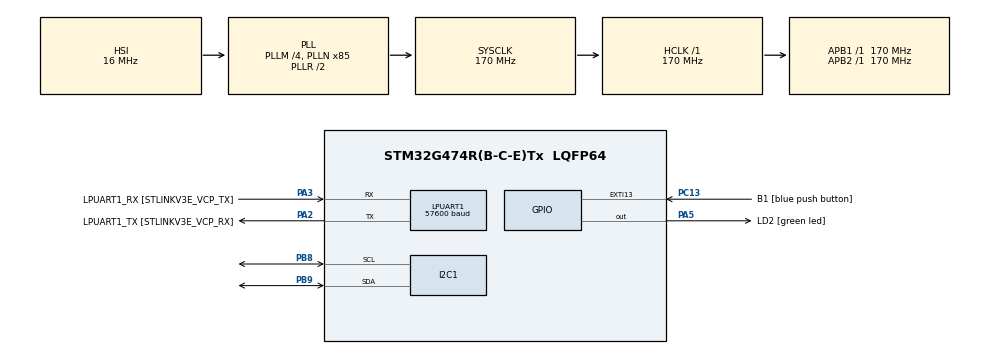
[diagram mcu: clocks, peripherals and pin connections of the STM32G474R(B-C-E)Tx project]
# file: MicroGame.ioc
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Dma.I2C1_RX.0.Direction=DMA_PERIPH_TO_MEMORY
Dma.I2C1_RX.0.EventEnable=DISABLE
Dma.I2C1_RX.0.Instance=DMA1_Channel1
Dma.I2C1_RX.0.MemDataAlignment=DMA_MDATAALIGN_BYTE
Dma.I2C1_RX.0.MemInc=DMA_MINC_ENABLE
Dma.I2C1_RX.0.Mode=DMA_NORMAL
Dma.I2C1_RX.0.PeriphDataAlignment=DMA_PDATAALIGN_BYTE
Dma.I2C1_RX.0.PeriphInc=DMA_PINC_DISABLE
Dma.I2C1_RX.0.Polarity=HAL_DMAMUX_REQ_GEN_RISING
Dma.I2C1_RX.0.Priority=DMA_PRIORITY_LOW
Dma.I2C1_RX.0.RequestNumber=1
Dma.I2C1_RX.0.SignalID=NONE
Dma.I2C1_RX.0.SyncEnable=DISABLE
Dma.I2C1_RX.0.SyncPolarity=HAL_DMAMUX_SYNC_NO_EVENT
Dma.I2C1_RX.0.SyncRequestNumber=1
Dma.I2C1_RX.0.SyncSignalID=NONE
Dma.I2C1_TX.1.Direction=DMA_MEMORY_TO_PERIPH
Dma.I2C1_TX.1.EventEnable=DISABLE
Dma.I2C1_TX.1.Instance=DMA1_Channel2
Dma.I2C1_TX.1.MemDataAlignment=DMA_MDATAALIGN_BYTE
Dma.I2C1_TX.1.MemInc=DMA_MINC_ENABLE
Dma.I2C1_TX.1.Mode=DMA_NORMAL
Dma.I2C1_TX.1.PeriphDataAlignment=DMA_PDATAALIGN_BYTE
Dma.I2C1_TX.1.PeriphInc=DMA_PINC_DISABLE
Dma.I2C1_TX.1.Polarity=HAL_DMAMUX_REQ_GEN_RISING
Dma.I2C1_TX.1.Priority=DMA_PRIORITY_LOW
Dma.I2C1_TX.1.RequestNumber=1
Dma.I2C1_TX.1.SignalID=NONE
Dma.I2C1_TX.1.SyncEnable=DISABLE
Dma.I2C1_TX.1.SyncPolarity=HAL_DMAMUX_SYNC_NO_EVENT
Dma.I2C1_TX.1.SyncRequestNumber=1
Dma.I2C1_TX.1.SyncSignalID=NONE
Dma.LPUART1_RX.2.Direction=DMA_PERIPH_TO_MEMORY
Dma.LPUART1_RX.2.EventEnable=DISABLE
Dma.LPUART1_RX.2.Instance=DMA1_Channel3
Dma.LPUART1_RX.2.MemDataAlignment=DMA_MDATAALIGN_BYTE
Dma.LPUART1_RX.2.MemInc=DMA_MINC_ENABLE
Dma.LPUART1_RX.2.Mode=DMA_CIRCULAR
Dma.LPUART1_RX.2.PeriphDataAlignment=DMA_PDATAALIGN_BYTE
Dma.LPUART1_RX.2.PeriphInc=DMA_PINC_DISABLE
Dma.LPUART1_RX.2.Polarity=HAL_DMAMUX_REQ_GEN_RISING
Dma.LPUART1_RX.2.Priority=DMA_PRIORITY_LOW
Dma.LPUART1_RX.2.RequestNumber=1
Dma.LPUART1_RX.2.SignalID=NONE
Dma.LPUART1_RX.2.SyncEnable=DISABLE
Dma.LPUART1_RX.2.SyncPolarity=HAL_DMAMUX_SYNC_NO_EVENT
Dma.LPUART1_RX.2.SyncRequestNumber=1
Dma.LPUART1_RX.2.SyncSignalID=NONE
Dma.LPUART1_TX.3.Direction=DMA_MEMORY_TO_PERIPH
Dma.LPUART1_TX.3.EventEnable=DISABLE
Dma.LPUART1_TX.3.Instance=DMA1_Channel4
Dma.LPUART1_TX.3.MemDataAlignment=DMA_MDATAALIGN_BYTE
Dma.LPUART1_TX.3.MemInc=DMA_MINC_ENABLE
Dma.LPUART1_TX.3.Mode=DMA_NORMAL
Dma.LPUART1_TX.3.PeriphDataAlignment=DMA_PDATAALIGN_BYTE
Dma.LPUART1_TX.3.PeriphInc=DMA_PINC_DISABLE
Dma.LPUART1_TX.3.Polarity=HAL_DMAMUX_REQ_GEN_RISING
Dma.LPUART1_TX.3.Priority=DMA_PRIORITY_LOW
Dma.LPUART1_TX.3.RequestNumber=1
Dma.LPUART1_TX.3.SignalID=NONE
Dma.LPUART1_TX.3.SyncEnable=DISABLE
Dma.LPUART1_TX.3.SyncPolarity=HAL_DMAMUX_SYNC_NO_EVENT
Dma.LPUART1_TX.3.SyncRequestNumber=1
Dma.LPUART1_TX.3.SyncSignalID=NONE
Dma.Request0=I2C1_RX
Dma.Request1=I2C1_TX
Dma.Request2=LPUART1_RX
Dma.Request3=LPUART1_TX
I2C1.Timing=0x30A0A7FB
LPUART1.BaudRate=57600
LPUART1.WordLength=UART_WORDLENGTH_8B
Mcu.Family=STM32G4
Mcu.Name=STM32G474R(B-C-E)Tx
Mcu.Package=LQFP64
NVIC.DMA1_Channel1_IRQn=true\:0\:0\:false\:false\:true\:false\:true\:true
NVIC.DMA1_Channel2_IRQn=true\:0\:0\:false\:false\:true\:false\:true\:true
NVIC.DMA1_Channel3_IRQn=true\:0\:0\:false\:false\:true\:false\:true\:true
NVIC.DMA1_Channel4_IRQn=true\:0\:0\:false\:false\:true\:false\:true\:true
NVIC.EXTI15_10_IRQn=true\:0\:0\:false\:false\:true\:true\:true\:true
NVIC.I2C1_ER_IRQn=true\:0\:0\:false\:false\:true\:true\:true\:true
NVIC.I2C1_EV_IRQn=true\:0\:0\:false\:false\:true\:true\:true\:true
NVIC.LPUART1_IRQn=true\:0\:0\:false\:false\:true\:true\:true\:true
NVIC.PriorityGroup=NVIC_PRIORITYGROUP_4
PA13.GPIO_Label=T_SWDIO
PA13.Mode=Serial_Wire
PA13.Signal=SYS_JTMS-SWDIO
PA14.GPIO_Label=T_SWCLK
PA14.Mode=Serial_Wire
PA14.Signal=SYS_JTCK-SWCLK
PA2.GPIO_Label=LPUART1_TX [STLINKV3E_VCP_RX]
PA2.Mode=Asynchronous
PA2.Signal=LPUART1_TX
PA3.GPIO_Label=LPUART1_RX [STLINKV3E_VCP_TX]
PA3.Mode=Asynchronous
PA3.Signal=LPUART1_RX
PA5.GPIO_Label=LD2 [green led]
PA5.Signal=GPIO_Output
PB3.GPIO_Label=T_SWO
PB3.Signal=SYS_JTDO-SWO
PB8-BOOT0.Mode=I2C
PB8-BOOT0.Signal=I2C1_SCL
PB9.Mode=I2C
PB9.Signal=I2C1_SDA
PC13.GPIO_Label=B1 [blue push button]
PC13.Signal=GPXTI13
PC14-OSC32_IN.Mode=LSE-External-Oscillator
PC14-OSC32_IN.Signal=RCC_OSC32_IN
PC15-OSC32_OUT.Mode=LSE-External-Oscillator
PC15-OSC32_OUT.Signal=RCC_OSC32_OUT
PF0-OSC_IN.Mode=HSE-External-Oscillator
PF0-OSC_IN.Signal=RCC_OSC_IN
PF1-OSC_OUT.Mode=HSE-External-Oscillator
PF1-OSC_OUT.Signal=RCC_OSC_OUT
ProjectManager.HeapSize=0x200
ProjectManager.StackSize=0x400
ProjectManager.TargetToolchain=STM32CubeIDE
RCC.ADC12Freq_Value=170000000
RCC.ADC345Freq_Value=170000000
RCC.AHBFreq_Value=170000000
RCC.APB1Freq_Value=170000000
RCC.APB1TimFreq_Value=170000000
RCC.APB2Freq_Value=170000000
RCC.APB2TimFreq_Value=170000000
RCC.CortexFreq_Value=170000000
RCC.EXTERNAL_CLOCK_VALUE=12288000
RCC.HCLKFreq_Value=170000000
RCC.HSE_VALUE=24000000
RCC.HSI48_VALUE=48000000
RCC.HSI_VALUE=16000000
RCC.PLLM=RCC_PLLM_DIV4
RCC.PLLN=85
RCC.RTCClockSelection=RCC_RTCCLKSOURCE_LSE
RCC.SYSCLKFreq_VALUE=170000000
RCC.SYSCLKSource=RCC_SYSCLKSOURCE_PLLCLK
RCC.USBFreq_Value=170000000
RCC.VCOOutputFreq_Value=340000000
VP_SYS_VS_DBSignals.Mode=DisableDeadBatterySignals
board=NUCLEO-G474RE

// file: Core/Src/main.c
/* USER CODE BEGIN Header */
/**
  ******************************************************************************
  * @file           : main.c
  * @brief          : Main program body
  ******************************************************************************
  * @attention
  *
  * Copyright (c) 2024 STMicroelectronics.
  * All rights reserved.
  *
  * This software is licensed under terms that can be found in the LICENSE file
  * in the root directory of this software component.
  * If no LICENSE file comes with this software, it is provided AS-IS.
  *
  ******************************************************************************
  */
/* USER CODE END Header */
#include "main.h"

/* USER CODE BEGIN Includes */
#include "string.h"

/* USER CODE END Includes */

/* USER CODE BEGIN PD */
#define EEPROM_ADDR 0b10100000
/* USER CODE END PD */

I2C_HandleTypeDef hi2c1;
DMA_HandleTypeDef hdma_i2c1_rx;
DMA_HandleTypeDef hdma_i2c1_tx;

UART_HandleTypeDef hlpuart1;
DMA_HandleTypeDef hdma_lpuart1_rx;
DMA_HandleTypeDef hdma_lpuart1_tx;

/* USER CODE BEGIN PV */
uint8_t Read[4];
uint8_t State = 0;
uint8_t Diff = 0;
uint8_t stop;
uint8_t indexx = 0;
uint8_t Check = 0;

uint8_t memRead[3];

uint8_t slot;
uint8_t slot_mem[3];
/* USER CODE END PV */

void SystemClock_Config(void);
static void MX_GPIO_Init(void);
static void MX_DMA_Init(void);
static void MX_LPUART1_UART_Init(void);
static void MX_I2C1_Init(void);

int main(void)
{

  /* MCU Configuration--------------------------------------------------------*/

  /* Reset of all peripherals, Initializes the Flash interface and the Systick. */
  HAL_Init();

  /* Configure the system clock */
  SystemClock_Config();

  /* Initialize all configured peripherals */
  MX_GPIO_Init();
  MX_DMA_Init();
  MX_LPUART1_UART_Init();
  MX_I2C1_Init();
  /* USER CODE BEGIN 2 */
  uint8_t newline[] = "\r\n";
  HAL_UART_Transmit(&hlpuart1, newline, sizeof(newline) - 1, 10);

  uint8_t text[] = "Enter Difficulty from 1 - 3 \r\n";
  HAL_UART_Transmit(&hlpuart1, text, 28, 10);
  /* USER CODE END 2 */

  /* Infinite loop */
  while (1)
  {

    /* USER CODE BEGIN 3 */
	  if (State == 0)
	  {
		  State = 1;
	  }

	  else if (State == 1)
	  {
		  Read[4] = '\0';
		  HAL_UART_Receive(&hlpuart1, Read, 4,10);

		  uint8_t data = Read[0];

		  if (data == 49)
		  {
			  Diff = 100;
			  State = 2;
		  }

		  else if (data == 50)
		  {
			  Diff = 50;
			  State = 2;
		  }

		  else if (data == 51)
		  {
			  Diff = 10;
			  State = 2;
		  }
	  }

	  else if (State == 2)
	  {
		  memset(Read, 0, sizeof(Read));
		  for (int i = 1; i < 10; i++)
		  {
			  if (HAL_GPIO_ReadPin(GPIOC, GPIO_PIN_13) == GPIO_PIN_RESET && stop == 0)
			  {
				  stop = 1;
			  }

			  else if (HAL_GPIO_ReadPin(GPIOC, GPIO_PIN_13) == GPIO_PIN_SET && stop == 1)
			  {
				  slot_mem[indexx] = slot;
				  stop = 0;
				  indexx++;
			  }

			  else if (indexx == 3)
			  {
				  State = 3;
			  }

			  else
			  {
				  if (indexx == 0)
				  {
					  slot_mem[0] = i;
					  slot_mem[1] = i;
					  slot_mem[2] = i;
				  }
				  else if (indexx == 1)
				  {
					  slot_mem[1] = i;
					  slot_mem[2] = i;
				  }
				  else if (indexx == 2)
				  {
					  slot_mem[2] = i;
				  }

				  slot = i;
				  uint8_t data;

				  data = slot_mem[0] + '0';
				  HAL_UART_Transmit(&hlpuart1, &data, sizeof(data), 10);
				  uint8_t tab[] = "\t";
				  HAL_UART_Transmit(&hlpuart1, tab, 1, 10);

				  data = slot_mem[1] + '0';
				  HAL_UART_Transmit(&hlpuart1, &data, sizeof(data), 10);
				  HAL_UART_Transmit(&hlpuart1, tab, 1, 10);

				  data = slot_mem[2] + '0';
				  HAL_UART_Transmit(&hlpuart1, &data, sizeof(data), 10);

				  uint8_t newline[] = "\r\n";
				  HAL_UART_Transmit(&hlpuart1, newline, sizeof(newline) - 1, 10);
				  HAL_Delay(Diff);
			  }
		  }
	  }

	  if (indexx == 3 && State == 3)
	  {
		  if (hi2c1.State == HAL_I2C_STATE_READY)
		  {
			  HAL_I2C_Mem_Write_IT(&hi2c1, EEPROM_ADDR, 0x2C, I2C_MEMADD_SIZE_16BIT, slot_mem, 3);
		  }

		  HAL_Delay(50);

		  if (hi2c1.State == HAL_I2C_STATE_READY)
		  {
			  HAL_I2C_Mem_Read_IT(&hi2c1, EEPROM_ADDR, 0x2c, I2C_MEMADD_SIZE_16BIT, memRead, 3);
	  	  }

	  	  indexx = 0;
	  	  Check = 1;
  	  }

	  if (Check == 1)
	  {
		  if (slot_mem[0] == slot_mem[1] && slot_mem[0] == slot_mem[2])
		  {
			  uint8_t text[] = "You're Winner!!";
			  HAL_UART_Transmit_DMA(&hlpuart1, text, sizeof(text));
		  }
		  else
		  {
			  uint8_t text[] = "Try Again!! -- Press Reset Button";
			  HAL_UART_Transmit_DMA(&hlpuart1, text, sizeof(text));
		  }
		  Check = 0;
	  }
  }
  /* USER CODE END 3 */
}

void SystemClock_Config(void)
{
  RCC_OscInitTypeDef RCC_OscInitStruct = {0};
  RCC_ClkInitTypeDef RCC_ClkInitStruct = {0};

  /** Configure the main internal regulator output voltage
  */
  HAL_PWREx_ControlVoltageScaling(PWR_REGULATOR_VOLTAGE_SCALE1_BOOST);

  /** Initializes the RCC Oscillators according to the specified parameters
  * in the RCC_OscInitTypeDef structure.
  */
  RCC_OscInitStruct.OscillatorType = RCC_OSCILLATORTYPE_HSI;
  RCC_OscInitStruct.HSIState = RCC_HSI_ON;
  RCC_OscInitStruct.HSICalibrationValue = RCC_HSICALIBRATION_DEFAULT;
  RCC_OscInitStruct.PLL.PLLState = RCC_PLL_ON;
  RCC_OscInitStruct.PLL.PLLSource = RCC_PLLSOURCE_HSI;
  RCC_OscInitStruct.PLL.PLLM = RCC_PLLM_DIV4;
  RCC_OscInitStruct.PLL.PLLN = 85;
  RCC_OscInitStruct.PLL.PLLP = RCC_PLLP_DIV2;
  RCC_OscInitStruct.PLL.PLLQ = RCC_PLLQ_DIV2;
  RCC_OscInitStruct.PLL.PLLR = RCC_PLLR_DIV2;
  if (HAL_RCC_OscConfig(&RCC_OscInitStruct) != HAL_OK)
  {
    Error_Handler();
  }

  /** Initializes the CPU, AHB and APB buses clocks
  */
  RCC_ClkInitStruct.ClockType = RCC_CLOCKTYPE_HCLK|RCC_CLOCKTYPE_SYSCLK
                              |RCC_CLOCKTYPE_PCLK1|RCC_CLOCKTYPE_PCLK2;
  RCC_ClkInitStruct.SYSCLKSource = RCC_SYSCLKSOURCE_PLLCLK;
  RCC_ClkInitStruct.AHBCLKDivider = RCC_SYSCLK_DIV1;
  RCC_ClkInitStruct.APB1CLKDivider = RCC_HCLK_DIV1;
  RCC_ClkInitStruct.APB2CLKDivider = RCC_HCLK_DIV1;

  if (HAL_RCC_ClockConfig(&RCC_ClkInitStruct, FLASH_LATENCY_4) != HAL_OK)
  {
    Error_Handler();
  }
}

static void MX_I2C1_Init(void)
{

  hi2c1.Instance = I2C1;
  hi2c1.Init.Timing = 0x30A0A7FB;
  hi2c1.Init.OwnAddress1 = 0;
  hi2c1.Init.AddressingMode = I2C_ADDRESSINGMODE_7BIT;
  hi2c1.Init.DualAddressMode = I2C_DUALADDRESS_DISABLE;
  hi2c1.Init.OwnAddress2 = 0;
  hi2c1.Init.OwnAddress2Masks = I2C_OA2_NOMASK;
  hi2c1.Init.GeneralCallMode = I2C_GENERALCALL_DISABLE;
  hi2c1.Init.NoStretchMode = I2C_NOSTRETCH_DISABLE;
  if (HAL_I2C_Init(&hi2c1) != HAL_OK)
  {
    Error_Handler();
  }

  /** Configure Analogue filter
  */
  if (HAL_I2CEx_ConfigAnalogFilter(&hi2c1, I2C_ANALOGFILTER_ENABLE) != HAL_OK)
  {
    Error_Handler();
  }

  /** Configure Digital filter
  */
  if (HAL_I2CEx_ConfigDigitalFilter(&hi2c1, 0) != HAL_OK)
  {
    Error_Handler();
  }

}

static void MX_LPUART1_UART_Init(void)
{

  hlpuart1.Instance = LPUART1;
  hlpuart1.Init.BaudRate = 57600;
  hlpuart1.Init.WordLength = UART_WORDLENGTH_9B;
  hlpuart1.Init.StopBits = UART_STOPBITS_1;
  hlpuart1.Init.Parity = UART_PARITY_EVEN;
  hlpuart1.Init.Mode = UART_MODE_TX_RX;
  hlpuart1.Init.HwFlowCtl = UART_HWCONTROL_NONE;
  hlpuart1.Init.OneBitSampling = UART_ONE_BIT_SAMPLE_DISABLE;
  hlpuart1.Init.ClockPrescaler = UART_PRESCALER_DIV1;
  hlpuart1.AdvancedInit.AdvFeatureInit = UART_ADVFEATURE_NO_INIT;
  if (HAL_UART_Init(&hlpuart1) != HAL_OK)
  {
    Error_Handler();
  }
  if (HAL_UARTEx_SetTxFifoThreshold(&hlpuart1, UART_TXFIFO_THRESHOLD_1_8) != HAL_OK)
  {
    Error_Handler();
  }
  if (HAL_UARTEx_SetRxFifoThreshold(&hlpuart1, UART_RXFIFO_THRESHOLD_1_8) != HAL_OK)
  {
    Error_Handler();
  }
  if (HAL_UARTEx_DisableFifoMode(&hlpuart1) != HAL_OK)
  {
    Error_Handler();
  }

}

static void MX_DMA_Init(void)
{

  /* DMA controller clock enable */
  __HAL_RCC_DMAMUX1_CLK_ENABLE();
  __HAL_RCC_DMA1_CLK_ENABLE();

  /* DMA interrupt init */
  /* DMA1_Channel1_IRQn interrupt configuration */
  HAL_NVIC_SetPriority(DMA1_Channel1_IRQn, 0, 0);
  HAL_NVIC_EnableIRQ(DMA1_Channel1_IRQn);
  /* DMA1_Channel2_IRQn interrupt configuration */
  HAL_NVIC_SetPriority(DMA1_Channel2_IRQn, 0, 0);
  HAL_NVIC_EnableIRQ(DMA1_Channel2_IRQn);
  /* DMA1_Channel3_IRQn interrupt configuration */
  HAL_NVIC_SetPriority(DMA1_Channel3_IRQn, 0, 0);
  HAL_NVIC_EnableIRQ(DMA1_Channel3_IRQn);
  /* DMA1_Channel4_IRQn interrupt configuration */
  HAL_NVIC_SetPriority(DMA1_Channel4_IRQn, 0, 0);
  HAL_NVIC_EnableIRQ(DMA1_Channel4_IRQn);

}

static void MX_GPIO_Init(void)
{
  GPIO_InitTypeDef GPIO_InitStruct = {0};

  /* GPIO Ports Clock Enable */
  __HAL_RCC_GPIOC_CLK_ENABLE();
  __HAL_RCC_GPIOF_CLK_ENABLE();
  __HAL_RCC_GPIOA_CLK_ENABLE();
  __HAL_RCC_GPIOB_CLK_ENABLE();

  /*Configure GPIO pin Output Level */
  HAL_GPIO_WritePin(LD2_GPIO_Port, LD2_Pin, GPIO_PIN_RESET);

  /*Configure GPIO pin : B1_Pin */
  GPIO_InitStruct.Pin = B1_Pin;
  GPIO_InitStruct.Mode = GPIO_MODE_IT_RISING;
  GPIO_InitStruct.Pull = GPIO_NOPULL;
  HAL_GPIO_Init(B1_GPIO_Port, &GPIO_InitStruct);

  /*Configure GPIO pin : LD2_Pin */
  GPIO_InitStruct.Pin = LD2_Pin;
  GPIO_InitStruct.Mode = GPIO_MODE_OUTPUT_PP;
  GPIO_InitStruct.Pull = GPIO_NOPULL;
  GPIO_InitStruct.Speed = GPIO_SPEED_FREQ_LOW;
  HAL_GPIO_Init(LD2_GPIO_Port, &GPIO_InitStruct);

  /* EXTI interrupt init*/
  HAL_NVIC_SetPriority(EXTI15_10_IRQn, 0, 0);
  HAL_NVIC_EnableIRQ(EXTI15_10_IRQn);

}

void Error_Handler(void)
{
  __disable_irq();
  while (1)
  {
  }
}
